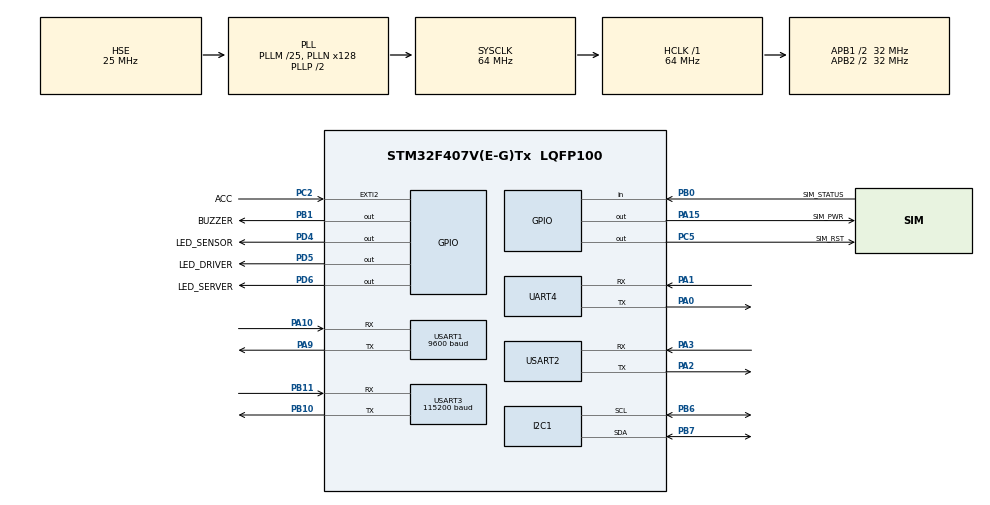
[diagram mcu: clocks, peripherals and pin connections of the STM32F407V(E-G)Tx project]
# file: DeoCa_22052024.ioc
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Dma.Request0=USART2_RX
Dma.USART2_RX.0.Direction=DMA_PERIPH_TO_MEMORY
Dma.USART2_RX.0.FIFOMode=DMA_FIFOMODE_DISABLE
Dma.USART2_RX.0.Instance=DMA1_Stream5
Dma.USART2_RX.0.MemDataAlignment=DMA_MDATAALIGN_BYTE
Dma.USART2_RX.0.MemInc=DMA_MINC_ENABLE
Dma.USART2_RX.0.Mode=DMA_NORMAL
Dma.USART2_RX.0.PeriphDataAlignment=DMA_PDATAALIGN_BYTE
Dma.USART2_RX.0.PeriphInc=DMA_PINC_DISABLE
Dma.USART2_RX.0.Priority=DMA_PRIORITY_LOW
Mcu.Family=STM32F4
Mcu.Name=STM32F407V(E-G)Tx
Mcu.Package=LQFP100
NVIC.DMA1_Stream5_IRQn=true\:0\:0\:false\:false\:true\:false\:true\:true
NVIC.EXTI2_IRQn=true\:6\:0\:true\:false\:true\:true\:true\:true
NVIC.PriorityGroup=NVIC_PRIORITYGROUP_4
NVIC.TIM2_IRQn=true\:0\:0\:false\:false\:true\:true\:true\:true
NVIC.TIM3_IRQn=true\:0\:0\:false\:false\:true\:true\:true\:true
NVIC.UART4_IRQn=true\:0\:0\:false\:false\:true\:true\:true\:true
NVIC.USART1_IRQn=true\:0\:0\:false\:false\:true\:true\:true\:true
NVIC.USART3_IRQn=true\:2\:0\:true\:false\:true\:true\:true\:true
PA0-WKUP.Mode=Asynchronous
PA0-WKUP.Signal=UART4_TX
PA1.Mode=Asynchronous
PA1.Signal=UART4_RX
PA10.Mode=Asynchronous
PA10.Signal=USART1_RX
PA13.Mode=Serial_Wire
PA13.Signal=SYS_JTMS-SWDIO
PA14.Mode=Serial_Wire
PA14.Signal=SYS_JTCK-SWCLK
PA15.GPIO_Label=SIM_PWR
PA15.Signal=GPIO_Output
PA2.Mode=Asynchronous
PA2.Signal=USART2_TX
PA3.Mode=Asynchronous
PA3.Signal=USART2_RX
PA9.Mode=Asynchronous
PA9.Signal=USART1_TX
PB0.GPIO_Label=SIM_STATUS
PB0.Signal=GPIO_Input
PB1.GPIO_Label=BUZZER
PB1.Signal=GPIO_Output
PB10.Mode=Asynchronous
PB10.Signal=USART3_TX
PB11.Mode=Asynchronous
PB11.Signal=USART3_RX
PB6.Mode=I2C
PB6.Signal=I2C1_SCL
PB7.Mode=I2C
PB7.Signal=I2C1_SDA
PC2.GPIO_Label=ACC
PC2.GPIO_ModeDefaultEXTI=GPIO_MODE_IT_RISING_FALLING
PC2.Signal=GPXTI2
PC5.GPIO_Label=SIM_RST
PC5.Signal=GPIO_Output
PD4.GPIO_Label=LED_SENSOR
PD4.Signal=GPIO_Output
PD5.GPIO_Label=LED_DRIVER
PD5.Signal=GPIO_Output
PD6.GPIO_Label=LED_SERVER
PD6.Signal=GPIO_Output
PH0-OSC_IN.Mode=HSE-External-Oscillator
PH0-OSC_IN.Signal=RCC_OSC_IN
PH1-OSC_OUT.Mode=HSE-External-Oscillator
PH1-OSC_OUT.Signal=RCC_OSC_OUT
ProjectManager.HeapSize=0x200
ProjectManager.StackSize=0x400
ProjectManager.TargetToolchain=STM32CubeIDE
RCC.48MHZClocksFreq_Value=32000000
RCC.AHBFreq_Value=64000000
RCC.APB1CLKDivider=RCC_HCLK_DIV2
RCC.APB1Freq_Value=32000000
RCC.APB1TimFreq_Value=64000000
RCC.APB2CLKDivider=RCC_HCLK_DIV2
RCC.APB2Freq_Value=32000000
RCC.APB2TimFreq_Value=64000000
RCC.CortexFreq_Value=64000000
RCC.HCLKFreq_Value=64000000
RCC.HSE_VALUE=25000000
RCC.HSI_VALUE=16000000
RCC.LSE_VALUE=32768
RCC.PLLM=25
RCC.PLLN=128
RCC.PLLSourceVirtual=RCC_PLLSOURCE_HSE
RCC.SYSCLKFreq_VALUE=64000000
RCC.SYSCLKSource=RCC_SYSCLKSOURCE_PLLCLK
RCC.VCOOutputFreq_Value=128000000
TIM2.Period=49
TIM2.Prescaler=63999
TIM3.Period=1999
TIM3.Prescaler=63999
UART4.VirtualMode=Asynchronous
USART1.BaudRate=9600
USART1.VirtualMode=VM_ASYNC
USART2.VirtualMode=VM_ASYNC
USART3.BaudRate=115200
USART3.VirtualMode=VM_ASYNC
VP_TIM2_VS_ClockSourceINT.Mode=Internal
VP_TIM3_VS_ClockSourceINT.Mode=Internal
board=custom

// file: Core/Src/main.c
/* USER CODE BEGIN Header */
/**
  ******************************************************************************
  * @file           : main.c
  * @brief          : Main program body
  ******************************************************************************
  * @attention
  *
  * Copyright (c) 2024 STMicroelectronics.
  * All rights reserved.
  *
  * This software is licensed under terms that can be found in the LICENSE file
  * in the root directory of this software component.
  * If no LICENSE file comes with this software, it is provided AS-IS.
  *
  ******************************************************************************
  */
/* USER CODE END Header */
#include "main.h"

/* USER CODE BEGIN Includes */

#ifdef RUN_SIM
sim7600_t sim;
#endif

#ifdef RUN_GPS
TAU1201_t gps;
#endif

flagType _Flag;

DS3231_data_t date_time;

eeprom_24LCxx_t eeprom;
/* USER CODE END Includes */

I2C_HandleTypeDef hi2c1;

TIM_HandleTypeDef htim2;
TIM_HandleTypeDef htim3;

UART_HandleTypeDef huart4;
UART_HandleTypeDef huart1;
UART_HandleTypeDef huart2;
UART_HandleTypeDef huart3;
DMA_HandleTypeDef hdma_usart2_rx;

void SystemClock_Config(void);
static void MX_GPIO_Init(void);
static void MX_DMA_Init(void);
static void MX_USART2_UART_Init(void);
static void MX_USART3_UART_Init(void);
static void MX_UART4_Init(void);
static void MX_USART1_UART_Init(void);
static void MX_TIM2_Init(void);
static void MX_TIM3_Init(void);
static void MX_I2C1_Init(void);

/* USER CODE BEGIN 0 */

uint8_t ACC_State;
float Latitude, Longitude, Speed, Satelites;

int ServerConnected;

char debugStr[100];

#ifdef RUN_SIM

#endif

#ifdef RUN_LigoSENSOR

uint8_t data_txCommand[4];
uint8_t data_rxResponse[5];

// declare variable processing UART data
uint8_t rxBuffer[FRAM_SIZE];
uint8_t rx_buff;

int8_t rxIndex = -1;
uint8_t flag_Received = 0;

// declare variable FRAME
FrameData frame ;

// declare variable CHECKSUM
uint8_t Checksum_Response;
uint8_t Checksum_Periodly_Data;

server_t _Server;

board_parameter_t BoardParameter;

#endif

void HAL_UART_RxCpltCallback(UART_HandleTypeDef *huart){
#ifdef RUN_LigoSENSOR
	if(huart == &huart1 &&flag_Received == 0){
		// save received byte into rxBuffer
		flag_Received = 1;
		Checksum_Response = data_txCommand_Checksum(data_rxResponse, 4);
		HAL_UART_Receive_IT(&huart1, &rx_buff, 1);
	}
	if(huart == &huart1 && flag_Received == 1 ){
		receive_rx(rx_buff);
		rxBuffer[rxIndex++] = uart_read();
		if(rxIndex == FRAM_SIZE){
			Process_Received_Data(rxBuffer, &frame);
			Checksum_Periodly_Data = data_txCommand_Checksum(rxBuffer, 10);
			rxIndex = 0;
			HAL_UART_Receive_IT(&huart1, &rx_buff, 1);
		}
		else{
			HAL_UART_Receive_IT(&huart1, &rx_buff, 1);
		}
	}
#endif

// GPS Interrupt
#ifdef RUN_GPS
	if(huart == &huart3){
		GPS_UART_CallBack(&gps);
	}
#endif
}

void HAL_UARTEx_RxEventCallback(UART_HandleTypeDef *huart, uint16_t Size){
#ifdef RUN_SIM
	SIM_UART_DMA_CallBack(&sim);
#endif
}

void HAL_GPIO_EXTI_Callback(uint16_t GPIO_Pin){
	ACC_State = HAL_GPIO_ReadPin(ACC_GPIO_Port, ACC_Pin);
}

void HAL_TIM_PeriodElapsedCallback(TIM_HandleTypeDef *htim){
//	Interrupt 50ms
	if(htim->Instance == TIM2){
		Flag_CallBack(&_Flag);
	}
//	Interrupt 2S
	if(htim->Instance == TIM3){

	}
}

char DataToPost[200];

char DebugGPSLocation[200];

void PostDataToServer(){
	DS3231_read_time(&date_time);
	sprintf(DataToPost,"{\"ID\": \"%s\",\"S\": \"%f;%f;%f;%d;0;0;%d;32.5;80.6;%d%d;%d:%d:%d %d/%d/%d;790136787923;1\"}", BoardParameter.ID, Longitude, Latitude, Speed, ACC_State, frame.rxRelative_level, sim.Signal, sim.NetTech, date_time.Hour, date_time.Minute, date_time.Second, date_time.Date, date_time.Month, (date_time.Year + 2000));
	if(http_post(&sim, API_POST_DATA_IOTVISION, DataToPost) == SIM7600_OK){
		ServerConnected = 1;
	}
	else{
		ServerConnected = 0;
	}

	if(http_post(&sim, API_POST_DATA_DEOCA, DataToPost) == SIM7600_OK){
		ServerConnected = 1;
	}
	else{
		ServerConnected = 0;
	}
}

void GetCodeFromServer(){
	char urlStr[100];
	sprintf(urlStr, "%s%s", API_GET_CODE_IOTVISION, BoardParameter.ID);

	if(http_get(&sim, urlStr, _Server.HTTPGetResponse, &_Server.HTTPGetCode) == SIM7600_OK){
		if(_Server.HTTPGetCode == 200){
			int foundRes = 0;
			int count = 0;
			for(int i = 0; i <= 256; ++i){
				if(_Server.HTTPGetResponse[i] == '\"') ++count;
				if(count == 7){
					foundRes = i + 1;
					break;
				}
			}

			_Server.CodeGet = 0;
			for(int i = foundRes; i<=256; ++i){
				if(_Server.HTTPGetResponse[i] == ';') break;
				if(_Server.HTTPGetResponse[i] == '\"') break;
				_Server.CodeGet *= 10;
				_Server.CodeGet += _Server.HTTPGetResponse[foundRes] - 48;
			}

			switch (_Server.CodeGet){
				case 3:
	//				[{"ID":"51A94887","S":"3;65M103466"}]
					char oldID[15];
					strcpy(oldID, BoardParameter.ID);

					memset(BoardParameter.ID, 0, sizeof(BoardParameter.ID));
					count = 0;
					for(int i = foundRes + 2; i <= 256; ++i){
						if(_Server.HTTPGetResponse[i] == '\"') break;
						BoardParameter.ID[count] = _Server.HTTPGetResponse[i];
						++count;
					}

					char DataResponseToServer[100];
					sprintf(DataResponseToServer, "{\"ID\":\"%s\",\"S\":\"31\"}", oldID);

					if((http_post(&sim, API_POST_CODE_IOTVISION, DataResponseToServer) == SIM7600_ERROR) || (strlen(BoardParameter.ID) == 0)){
						memset(BoardParameter.ID, 0, sizeof(BoardParameter.ID));
						strcpy(BoardParameter.ID, oldID);
					}
					else{
						EEPROM_write_bytes(&eeprom, 0, (uint8_t *)&BoardParameter, sizeof(BoardParameter));
					}

					break;
				case 4:

					break;
			}

			memset(_Server.HTTPGetResponse, 0, sizeof(_Server.HTTPGetResponse));
		}
	}

	//		sscanf(_Server.HTTPGetResponse, "[{\"ID\":\"51A94887\",\"S\":\"%d\"}]", &_Server.get_code);
	//
	//		if(_Server.get_code == 9){
	//			HAL_Delay(1000);
	//			_Server.get_code = 0;
	//			sprintf(_Server.HTTPGetResponse, "[{\"ID\":\"51A94887\",\"S\":\"%d\"}]", _Server.get_code);
	//			http_post(&sim, API_POST_CODE_IOTVISION, _Server.HTTPGetResponse);
	//		}
	//				http_get(&sim, API_GET_TEST, HTTPGetResponse, &HTTPGetCode);
}

void Bip(){
	HAL_GPIO_WritePin(BUZZER_GPIO_Port, BUZZER_Pin, GPIO_PIN_SET);
	HAL_Delay(50);
	HAL_GPIO_WritePin(BUZZER_GPIO_Port, BUZZER_Pin, GPIO_PIN_RESET);
	HAL_Delay(50);

}

void RunMainProgram(){
// Timer 50ms
#ifdef FLAG_50ms
	if(_Flag.t50ms){

		_Flag.t50ms = 0;
	}
#endif

// Timer 100ms
#ifdef FLAG_100ms
	if(_Flag.t100ms){

		_Flag.t100ms = 0;
	}
#endif

// Timer 250ms
#ifdef FLAG_250ms
	if(_Flag.t250ms){

		_Flag.t250ms = 0;
	}
#endif

// Timer 500ms
#ifdef FLAG_500ms
	if(_Flag.t500ms){
		if(flag_Received == 1){
			HAL_GPIO_WritePin(LED_SENSOR_GPIO_Port, LED_SENSOR_Pin, GPIO_PIN_SET);
		}
		else{
			HAL_GPIO_WritePin(LED_SENSOR_GPIO_Port, LED_SENSOR_Pin, GPIO_PIN_RESET);
		}

		if(ServerConnected == 1){
			HAL_GPIO_WritePin(LED_SERVER_GPIO_Port, LED_SERVER_Pin, GPIO_PIN_SET);
		}
		else{
			HAL_GPIO_WritePin(LED_SERVER_GPIO_Port, LED_SERVER_Pin, GPIO_PIN_RESET);
		}
		_Flag.t500ms = 0;
	}
#endif

// Timer 1s
#ifdef FLAG_1s
	if(_Flag.t1s){

		GetCodeFromServer();

		_Flag.t1s = 0;
	}
#endif

// Timer 1500ms
#ifdef FLAG_1500ms
	if(_Flag.t1500ms){

		_Flag.t1500ms = 0;
	}
#endif

// Timer 2s
#ifdef FLAG_2s
	if(_Flag.t2s){
#ifdef RUN_SIM
//		CheckSimConnect(&sim);
		GetSignal(&sim);
#endif

		Satelites = getSatelitesNum(&gps);
		if((Satelites < 8) && (sim.Signal > 0)){
			GetLBS(&sim);
			Latitude = sim.LBS_Loc.Latitude;
			Longitude = sim.LBS_Loc.Longitude;
			Speed = 0;
		}
		else{
			Latitude = getLatitude(&gps);
			Longitude = getLongitude(&gps);
			Speed = getSpeed(&gps);
		}
		sprintf(DebugGPSLocation,"https://www.google.com/maps/?q=%f,%f\r\n", Latitude, Longitude);

		HAL_UART_Transmit(&huart4, (uint8_t *)DebugGPSLocation, strlen(DebugGPSLocation), 1000);
		_Flag.t2s = 0;
	}
#endif

// Timer 3s
#ifdef FLAG_3s
	if(_Flag.t3s){

		_Flag.t3s = 0;
	}
#endif

// Timer 4s
#ifdef FLAG_4s
	if(_Flag.t4s){

		_Flag.t4s = 0;
	}
#endif

// Timer 5s
#ifdef FLAG_5s
	if(_Flag.t5s){
		//#ifdef RUN_SIM
		//	  http_get(&sim, API_GET_TEST, HTTPGetResponse, &HTTPGetCode);
		//	  HAL_Delay(100);
		//	  http_post(&sim, API_POST_DATA_DEOCA, "{\"ID\":\"B0B21C9ED20C\",\"s\":\"11001111;32.5;80.6;79;20:11:13 06/03/2024\"}");
		//	  HAL_Delay(100);
		//#endif

		_Flag.t5s = 0;
	}
#endif

// Timer 6s
#ifdef FLAG_6s
	if(_Flag.t6s){

		_Flag.t6s = 0;
	}
#endif

// Timer 10s
#ifdef FLAG_10s
	if(_Flag.t10s){

		_Flag.t10s = 0;
	}
#endif

// Timer 15s
#ifdef FLAG_15s
	if(_Flag.t15s){
#ifdef RUN_SIM
//		if(ACC_State == 1){
			PostDataToServer();

			Bip();
//		}
#endif
		_Flag.t15s = 0;
	}
#endif

// Timer 30s
#ifdef FLAG_30s
	if(_Flag.t30s){

		_Flag.t30s = 0;
	}
#endif

// Timer 35s
#ifdef FLAG_35s
	if(_Flag.t35s){

		_Flag.t35s = 0;
	}
#endif

// Timer 15p
#ifdef FLAG_15p
	if(_Flag.t15p){
#ifdef RUN_SIM

		GetLBS(&sim);

		if(sim.LBS_Date.Date != 0) date_time.Date = sim.LBS_Date.Date;
		if(sim.LBS_Date.Day != 0) date_time.Day = sim.LBS_Date.Day;
		if(sim.LBS_Date.Month != 0) date_time.Month = sim.LBS_Date.Month;
		if(sim.LBS_Date.Year != 0) date_time.Year = sim.LBS_Date.Year;

		if(sim.LBS_Date.Hour != 0) date_time.Hour = sim.LBS_Date.Hour;
		if(sim.LBS_Date.Minute != 0) date_time.Minute = sim.LBS_Date.Minute;
		if(sim.LBS_Date.Second != 0) date_time.Second = sim.LBS_Date.Second;

		DS3231_write_time(&date_time);
#endif
		_Flag.t15p = 0;
	}
#endif

}

/* USER CODE END 0 */

int main(void)
{

  /* MCU Configuration--------------------------------------------------------*/

  /* Reset of all peripherals, Initializes the Flash interface and the Systick. */
  HAL_Init();

  /* Configure the system clock */
  SystemClock_Config();

  /* Initialize all configured peripherals */
  MX_GPIO_Init();
  MX_DMA_Init();
  MX_USART2_UART_Init();
  MX_USART3_UART_Init();
  MX_UART4_Init();
  MX_USART1_UART_Init();
  MX_TIM2_Init();
  MX_TIM3_Init();
  MX_I2C1_Init();
  /* USER CODE BEGIN 2 */
  HAL_TIM_Base_Start_IT(&htim2);
  HAL_TIM_Base_Start_IT(&htim3);

  HAL_GPIO_WritePin(LED_SENSOR_GPIO_Port, LED_SENSOR_Pin, GPIO_PIN_SET);
  HAL_GPIO_WritePin(LED_DRIVER_GPIO_Port, LED_DRIVER_Pin, GPIO_PIN_SET);
  HAL_GPIO_WritePin(LED_SERVER_GPIO_Port, LED_SERVER_Pin, GPIO_PIN_SET);

  rtc_init(&hi2c1);
  DS3231_read_time(&date_time);

  EEPROM_init(&eeprom, &hi2c1, EEPROM_I2C_ADDRESS, EEPROM_SIZE);

//  BoardParameter.update_status = 1;
//  strcpy(BoardParameter.ID, "51A94887");
//  EEPROM_write_bytes(&eeprom, 0, (uint8_t *)&BoardParameter, sizeof(BoardParameter));
//  clear_EEPROM(&eeprom);

  EEPROM_read_bytes(&eeprom, 0, (uint8_t *)&BoardParameter, sizeof(BoardParameter));

#ifdef RUN_LigoSENSOR
  Command_Format(data_txCommand, data_rxResponse);
#endif

#ifdef RUN_GPS
// Init GPS module
  GPS_Init(&gps, &huart3);
#endif

#ifdef RUN_SIM
// Init SIMCOM module
  SIMInit(&sim, &huart2, &hdma_usart2_rx, SIM_PWR_Pin, SIM_PWR_GPIO_Port, SIM_RST_Pin, SIM_RST_GPIO_Port, SIM_STATUS_Pin, SIM_STATUS_GPIO_Port);
  HAL_Delay(1000);

//  if((sim.SimConnect == 1) && (BoardParameter.update_status == 0)){
//	  strcpy(BoardParameter.ID, sim.PhoneNumber);
//	  EEPROM_write_bytes(&eeprom, 0, (uint8_t *)&BoardParameter, sizeof(BoardParameter));
//  }

//  SendCommand(&sim, "AT+CNUM\r\n", SIM_OK, 1000, 0);
//  GetPhoneNumber(&sim);
#endif
  /* USER CODE END 2 */

  /* Infinite loop */
  /* USER CODE BEGIN WHILE */
  while (1)
  {
	  RunMainProgram();

//	  luu("/Backup/text.txt", "")
    /* USER CODE END WHILE */

  }
}

void SystemClock_Config(void)
{
  RCC_OscInitTypeDef RCC_OscInitStruct = {0};
  RCC_ClkInitTypeDef RCC_ClkInitStruct = {0};

  /** Configure the main internal regulator output voltage
  */
  __HAL_RCC_PWR_CLK_ENABLE();
  __HAL_PWR_VOLTAGESCALING_CONFIG(PWR_REGULATOR_VOLTAGE_SCALE1);

  /** Initializes the RCC Oscillators according to the specified parameters
  * in the RCC_OscInitTypeDef structure.
  */
  RCC_OscInitStruct.OscillatorType = RCC_OSCILLATORTYPE_HSE;
  RCC_OscInitStruct.HSEState = RCC_HSE_ON;
  RCC_OscInitStruct.PLL.PLLState = RCC_PLL_ON;
  RCC_OscInitStruct.PLL.PLLSource = RCC_PLLSOURCE_HSE;
  RCC_OscInitStruct.PLL.PLLM = 25;
  RCC_OscInitStruct.PLL.PLLN = 128;
  RCC_OscInitStruct.PLL.PLLP = RCC_PLLP_DIV2;
  RCC_OscInitStruct.PLL.PLLQ = 4;
  if (HAL_RCC_OscConfig(&RCC_OscInitStruct) != HAL_OK)
  {
    Error_Handler();
  }

  /** Initializes the CPU, AHB and APB buses clocks
  */
  RCC_ClkInitStruct.ClockType = RCC_CLOCKTYPE_HCLK|RCC_CLOCKTYPE_SYSCLK
                              |RCC_CLOCKTYPE_PCLK1|RCC_CLOCKTYPE_PCLK2;
  RCC_ClkInitStruct.SYSCLKSource = RCC_SYSCLKSOURCE_PLLCLK;
  RCC_ClkInitStruct.AHBCLKDivider = RCC_SYSCLK_DIV1;
  RCC_ClkInitStruct.APB1CLKDivider = RCC_HCLK_DIV2;
  RCC_ClkInitStruct.APB2CLKDivider = RCC_HCLK_DIV2;

  if (HAL_RCC_ClockConfig(&RCC_ClkInitStruct, FLASH_LATENCY_2) != HAL_OK)
  {
    Error_Handler();
  }
}

static void MX_I2C1_Init(void)
{

  hi2c1.Instance = I2C1;
  hi2c1.Init.ClockSpeed = 100000;
  hi2c1.Init.DutyCycle = I2C_DUTYCYCLE_2;
  hi2c1.Init.OwnAddress1 = 0;
  hi2c1.Init.AddressingMode = I2C_ADDRESSINGMODE_7BIT;
  hi2c1.Init.DualAddressMode = I2C_DUALADDRESS_DISABLE;
  hi2c1.Init.OwnAddress2 = 0;
  hi2c1.Init.GeneralCallMode = I2C_GENERALCALL_DISABLE;
  hi2c1.Init.NoStretchMode = I2C_NOSTRETCH_DISABLE;
  if (HAL_I2C_Init(&hi2c1) != HAL_OK)
  {
    Error_Handler();
  }

}

static void MX_TIM2_Init(void)
{

  TIM_ClockConfigTypeDef sClockSourceConfig = {0};
  TIM_MasterConfigTypeDef sMasterConfig = {0};

  htim2.Instance = TIM2;
  htim2.Init.Prescaler = 63999;
  htim2.Init.CounterMode = TIM_COUNTERMODE_UP;
  htim2.Init.Period = 49;
  htim2.Init.ClockDivision = TIM_CLOCKDIVISION_DIV1;
  htim2.Init.AutoReloadPreload = TIM_AUTORELOAD_PRELOAD_DISABLE;
  if (HAL_TIM_Base_Init(&htim2) != HAL_OK)
  {
    Error_Handler();
  }
  sClockSourceConfig.ClockSource = TIM_CLOCKSOURCE_INTERNAL;
  if (HAL_TIM_ConfigClockSource(&htim2, &sClockSourceConfig) != HAL_OK)
  {
    Error_Handler();
  }
  sMasterConfig.MasterOutputTrigger = TIM_TRGO_RESET;
  sMasterConfig.MasterSlaveMode = TIM_MASTERSLAVEMODE_DISABLE;
  if (HAL_TIMEx_MasterConfigSynchronization(&htim2, &sMasterConfig) != HAL_OK)
  {
    Error_Handler();
  }

}

static void MX_TIM3_Init(void)
{

  TIM_ClockConfigTypeDef sClockSourceConfig = {0};
  TIM_MasterConfigTypeDef sMasterConfig = {0};

  htim3.Instance = TIM3;
  htim3.Init.Prescaler = 63999;
  htim3.Init.CounterMode = TIM_COUNTERMODE_UP;
  htim3.Init.Period = 1999;
  htim3.Init.ClockDivision = TIM_CLOCKDIVISION_DIV1;
  htim3.Init.AutoReloadPreload = TIM_AUTORELOAD_PRELOAD_DISABLE;
  if (HAL_TIM_Base_Init(&htim3) != HAL_OK)
  {
    Error_Handler();
  }
  sClockSourceConfig.ClockSource = TIM_CLOCKSOURCE_INTERNAL;
  if (HAL_TIM_ConfigClockSource(&htim3, &sClockSourceConfig) != HAL_OK)
  {
    Error_Handler();
  }
  sMasterConfig.MasterOutputTrigger = TIM_TRGO_RESET;
  sMasterConfig.MasterSlaveMode = TIM_MASTERSLAVEMODE_DISABLE;
  if (HAL_TIMEx_MasterConfigSynchronization(&htim3, &sMasterConfig) != HAL_OK)
  {
    Error_Handler();
  }

}

static void MX_UART4_Init(void)
{

  huart4.Instance = UART4;
  huart4.Init.BaudRate = 115200;
  huart4.Init.WordLength = UART_WORDLENGTH_8B;
  huart4.Init.StopBits = UART_STOPBITS_1;
  huart4.Init.Parity = UART_PARITY_NONE;
  huart4.Init.Mode = UART_MODE_TX_RX;
  huart4.Init.HwFlowCtl = UART_HWCONTROL_NONE;
  huart4.Init.OverSampling = UART_OVERSAMPLING_16;
  if (HAL_UART_Init(&huart4) != HAL_OK)
  {
    Error_Handler();
  }

}

static void MX_USART1_UART_Init(void)
{

  huart1.Instance = USART1;
  huart1.Init.BaudRate = 9600;
  huart1.Init.WordLength = UART_WORDLENGTH_8B;
  huart1.Init.StopBits = UART_STOPBITS_1;
  huart1.Init.Parity = UART_PARITY_NONE;
  huart1.Init.Mode = UART_MODE_TX_RX;
  huart1.Init.HwFlowCtl = UART_HWCONTROL_NONE;
  huart1.Init.OverSampling = UART_OVERSAMPLING_16;
  if (HAL_UART_Init(&huart1) != HAL_OK)
  {
    Error_Handler();
  }

}

static void MX_USART2_UART_Init(void)
{

  huart2.Instance = USART2;
  huart2.Init.BaudRate = 115200;
  huart2.Init.WordLength = UART_WORDLENGTH_8B;
  huart2.Init.StopBits = UART_STOPBITS_1;
  huart2.Init.Parity = UART_PARITY_NONE;
  huart2.Init.Mode = UART_MODE_TX_RX;
  huart2.Init.HwFlowCtl = UART_HWCONTROL_NONE;
  huart2.Init.OverSampling = UART_OVERSAMPLING_16;
  if (HAL_UART_Init(&huart2) != HAL_OK)
  {
    Error_Handler();
  }

}

static void MX_USART3_UART_Init(void)
{

  huart3.Instance = USART3;
  huart3.Init.BaudRate = 115200;
  huart3.Init.WordLength = UART_WORDLENGTH_8B;
  huart3.Init.StopBits = UART_STOPBITS_1;
  huart3.Init.Parity = UART_PARITY_NONE;
  huart3.Init.Mode = UART_MODE_TX_RX;
  huart3.Init.HwFlowCtl = UART_HWCONTROL_NONE;
  huart3.Init.OverSampling = UART_OVERSAMPLING_16;
  if (HAL_UART_Init(&huart3) != HAL_OK)
  {
    Error_Handler();
  }

}

static void MX_DMA_Init(void)
{

  /* DMA controller clock enable */
  __HAL_RCC_DMA1_CLK_ENABLE();

  /* DMA interrupt init */
  /* DMA1_Stream5_IRQn interrupt configuration */
  HAL_NVIC_SetPriority(DMA1_Stream5_IRQn, 0, 0);
  HAL_NVIC_EnableIRQ(DMA1_Stream5_IRQn);

}

static void MX_GPIO_Init(void)
{
  GPIO_InitTypeDef GPIO_InitStruct = {0};

  /* GPIO Ports Clock Enable */
  __HAL_RCC_GPIOE_CLK_ENABLE();
  __HAL_RCC_GPIOC_CLK_ENABLE();
  __HAL_RCC_GPIOH_CLK_ENABLE();
  __HAL_RCC_GPIOA_CLK_ENABLE();
  __HAL_RCC_GPIOB_CLK_ENABLE();
  __HAL_RCC_GPIOD_CLK_ENABLE();

  /*Configure GPIO pin Output Level */
  HAL_GPIO_WritePin(SIM_RST_GPIO_Port, SIM_RST_Pin, GPIO_PIN_RESET);

  /*Configure GPIO pin Output Level */
  HAL_GPIO_WritePin(BUZZER_GPIO_Port, BUZZER_Pin, GPIO_PIN_RESET);

  /*Configure GPIO pin Output Level */
  HAL_GPIO_WritePin(SIM_PWR_GPIO_Port, SIM_PWR_Pin, GPIO_PIN_RESET);

  /*Configure GPIO pin Output Level */
  HAL_GPIO_WritePin(GPIOD, LED_SENSOR_Pin|LED_DRIVER_Pin|LED_SERVER_Pin, GPIO_PIN_RESET);

  /*Configure GPIO pins : PE2 PE3 PE4 PE5
                           PE6 PE7 PE8 PE9
                           PE10 PE11 PE12 PE13
                           PE14 PE15 PE0 PE1 */
  GPIO_InitStruct.Pin = GPIO_PIN_2|GPIO_PIN_3|GPIO_PIN_4|GPIO_PIN_5
                          |GPIO_PIN_6|GPIO_PIN_7|GPIO_PIN_8|GPIO_PIN_9
                          |GPIO_PIN_10|GPIO_PIN_11|GPIO_PIN_12|GPIO_PIN_13
                          |GPIO_PIN_14|GPIO_PIN_15|GPIO_PIN_0|GPIO_PIN_1;
  GPIO_InitStruct.Mode = GPIO_MODE_ANALOG;
  GPIO_InitStruct.Pull = GPIO_NOPULL;
  HAL_GPIO_Init(GPIOE, &GPIO_InitStruct);

  /*Configure GPIO pins : PC13 PC14 PC15 PC0
                           PC1 PC3 PC4 PC6
                           PC7 PC8 PC9 PC10
                           PC11 PC12 */
  GPIO_InitStruct.Pin = GPIO_PIN_13|GPIO_PIN_14|GPIO_PIN_15|GPIO_PIN_0
                          |GPIO_PIN_1|GPIO_PIN_3|GPIO_PIN_4|GPIO_PIN_6
                          |GPIO_PIN_7|GPIO_PIN_8|GPIO_PIN_9|GPIO_PIN_10
                          |GPIO_PIN_11|GPIO_PIN_12;
  GPIO_InitStruct.Mode = GPIO_MODE_ANALOG;
  GPIO_InitStruct.Pull = GPIO_NOPULL;
  HAL_GPIO_Init(GPIOC, &GPIO_InitStruct);

  /*Configure GPIO pin : ACC_Pin */
  GPIO_InitStruct.Pin = ACC_Pin;
  GPIO_InitStruct.Mode = GPIO_MODE_IT_RISING_FALLING;
  GPIO_InitStruct.Pull = GPIO_NOPULL;
  HAL_GPIO_Init(ACC_GPIO_Port, &GPIO_InitStruct);

  /*Configure GPIO pins : PA4 PA5 PA6 PA7
                           PA8 PA11 PA12 */
  GPIO_InitStruct.Pin = GPIO_PIN_4|GPIO_PIN_5|GPIO_PIN_6|GPIO_PIN_7
                          |GPIO_PIN_8|GPIO_PIN_11|GPIO_PIN_12;
  GPIO_InitStruct.Mode = GPIO_MODE_ANALOG;
  GPIO_InitStruct.Pull = GPIO_NOPULL;
  HAL_GPIO_Init(GPIOA, &GPIO_InitStruct);

  /*Configure GPIO pin : SIM_RST_Pin */
  GPIO_InitStruct.Pin = SIM_RST_Pin;
  GPIO_InitStruct.Mode = GPIO_MODE_OUTPUT_PP;
  GPIO_InitStruct.Pull = GPIO_NOPULL;
  GPIO_InitStruct.Speed = GPIO_SPEED_FREQ_LOW;
  HAL_GPIO_Init(SIM_RST_GPIO_Port, &GPIO_InitStruct);

  /*Configure GPIO pin : SIM_STATUS_Pin */
  GPIO_InitStruct.Pin = SIM_STATUS_Pin;
  GPIO_InitStruct.Mode = GPIO_MODE_INPUT;
  GPIO_InitStruct.Pull = GPIO_NOPULL;
  HAL_GPIO_Init(SIM_STATUS_GPIO_Port, &GPIO_InitStruct);

  /*Configure GPIO pin : BUZZER_Pin */
  GPIO_InitStruct.Pin = BUZZER_Pin;
  GPIO_InitStruct.Mode = GPIO_MODE_OUTPUT_PP;
  GPIO_InitStruct.Pull = GPIO_NOPULL;
  GPIO_InitStruct.Speed = GPIO_SPEED_FREQ_LOW;
  HAL_GPIO_Init(BUZZER_GPIO_Port, &GPIO_InitStruct);

  /*Configure GPIO pins : PB2 PB12 PB13 PB14
                           PB15 PB3 PB4 PB5
                           PB8 PB9 */
  GPIO_InitStruct.Pin = GPIO_PIN_2|GPIO_PIN_12|GPIO_PIN_13|GPIO_PIN_14
                          |GPIO_PIN_15|GPIO_PIN_3|GPIO_PIN_4|GPIO_PIN_5
                          |GPIO_PIN_8|GPIO_PIN_9;
  GPIO_InitStruct.Mode = GPIO_MODE_ANALOG;
  GPIO_InitStruct.Pull = GPIO_NOPULL;
  HAL_GPIO_Init(GPIOB, &GPIO_InitStruct);

  /*Configure GPIO pins : PD8 PD9 PD10 PD11
                           PD12 PD13 PD14 PD15
                           PD0 PD1 PD2 PD3
                           PD7 */
  GPIO_InitStruct.Pin = GPIO_PIN_8|GPIO_PIN_9|GPIO_PIN_10|GPIO_PIN_11
                          |GPIO_PIN_12|GPIO_PIN_13|GPIO_PIN_14|GPIO_PIN_15
                          |GPIO_PIN_0|GPIO_PIN_1|GPIO_PIN_2|GPIO_PIN_3
                          |GPIO_PIN_7;
  GPIO_InitStruct.Mode = GPIO_MODE_ANALOG;
  GPIO_InitStruct.Pull = GPIO_NOPULL;
  HAL_GPIO_Init(GPIOD, &GPIO_InitStruct);

  /*Configure GPIO pin : SIM_PWR_Pin */
  GPIO_InitStruct.Pin = SIM_PWR_Pin;
  GPIO_InitStruct.Mode = GPIO_MODE_OUTPUT_PP;
  GPIO_InitStruct.Pull = GPIO_NOPULL;
  GPIO_InitStruct.Speed = GPIO_SPEED_FREQ_LOW;
  HAL_GPIO_Init(SIM_PWR_GPIO_Port, &GPIO_InitStruct);

  /*Configure GPIO pins : LED_SENSOR_Pin LED_DRIVER_Pin LED_SERVER_Pin */
  GPIO_InitStruct.Pin = LED_SENSOR_Pin|LED_DRIVER_Pin|LED_SERVER_Pin;
  GPIO_InitStruct.Mode = GPIO_MODE_OUTPUT_PP;
  GPIO_InitStruct.Pull = GPIO_NOPULL;
  GPIO_InitStruct.Speed = GPIO_SPEED_FREQ_LOW;
  HAL_GPIO_Init(GPIOD, &GPIO_InitStruct);

  /* EXTI interrupt init*/
  HAL_NVIC_SetPriority(EXTI2_IRQn, 6, 0);
  HAL_NVIC_EnableIRQ(EXTI2_IRQn);

}

void Error_Handler(void)
{
  __disable_irq();
  while (1)
  {
  }
}
